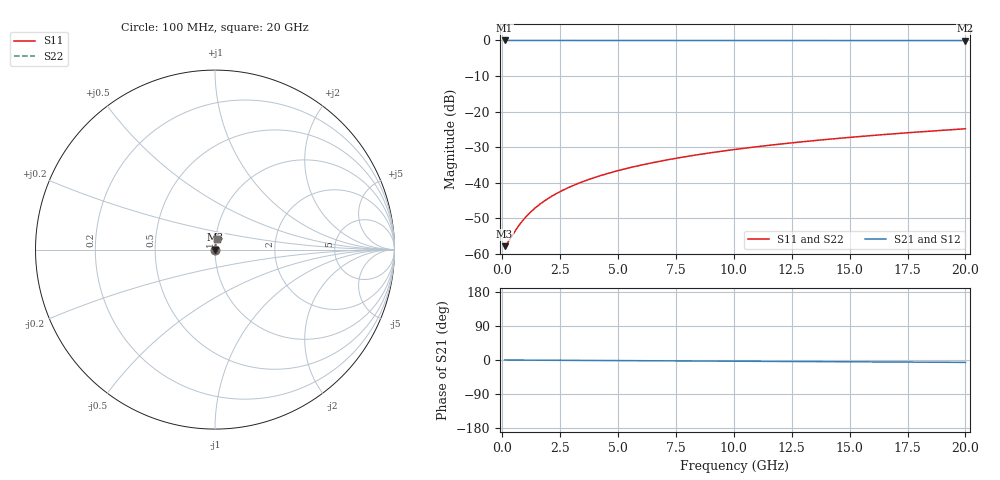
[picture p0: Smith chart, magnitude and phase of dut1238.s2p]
! Touchstone file exported from HFSS 2026.1.0
!  File:  C:/ffzhzh/LocalFiles/Ansys_Project_Files/temp_train_TSV_1238_1783193422_43440.aedt
!  Generated:  03:32:30 AM Jul  5, 2026
!  Design:  TSV
!  Project:  temp_train_TSV_1238_1783193422_43440
! Variables:
!  h_bsmrdl = 2um
!  h_ox = 20um
!  h_rdl = 5um
!  h_sub = 53.58um
!  h_tmrdl = 5um
!  h_tsv = 53.58um
!  h_via = 3um
!  l_bsmrdl = 300um
!  l_sub = 404.48um
!  l_tmrdl = 200um
!  m_sub = 200um
!  pitch = 22.77um
!  r_tsv = 2.24um
!  s_tmrdl = 10um
!  w_bsmrdl = 18um
!  w_sub = 500um
!  w_tmrdl = 12um
!  x_tsv_center1 = 206um
!  x_tsv_center2 = 524um
!  x_tsv_center3 = 736um
!  x_tsv_center4 = 1054um
!  x_tsv_center5 = 1266um
!  x_tsv_center6 = 1584um
# GHz S MA R 50.000000
! Terminal data exported
! Port[1] = TSV1_1_T1
! Port[2] = TSV1_1_T2
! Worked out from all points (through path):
!   200 points, 100 MHz to 20 GHz, reference 50 ohm
!   highest |S21| = -0.01 dB at 100 MHz (marker M1); lowest = 0.0 dB at 20 GHz (marker M2)
!   lowest |S11| = -57.8 dB at 100 MHz (marker M3), VSWR 1.00, Z = 50.1 + j0.0306 ohm
!   |S11| at or under -10 dB: start of sweep to end of sweep
!   |S22| runs from -57.8 to -24.8 dB; largest |S21 - S12| = 4.1e-15
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0.1  0.001291 13.7  0.9987 -0.0  0.9987 -0.0  0.001291 13.7
! Gamma 0 0 0 0
! Port Impedance 50 0 50 0
0.2  0.001398 25.8  0.9987 -0.1  0.9987 -0.1  0.001398 25.8
0.3  0.001559 35.8  0.9987 -0.1  0.9987 -0.1  0.001559 35.8
0.6  0.002221 54.5  0.9987 -0.2  0.9987 -0.2  0.002221 54.5
0.7  0.002473 58.3  0.9987 -0.2  0.9987 -0.2  0.002473 58.3
0.9  0.002999 64.0  0.9987 -0.3  0.9987 -0.3  0.002999 64.0
1.2  0.003821 69.5  0.9987 -0.4  0.9987 -0.4  0.003821 69.5
1.5  0.004665 73.0  0.9987 -0.5  0.9987 -0.5  0.004665 73.0
1.9  0.005808 76.0  0.9986 -0.6  0.9986 -0.6  0.005808 76.0
2.4  0.007253 78.4  0.9986 -0.8  0.9986 -0.8  0.007253 78.4
2.9  0.008708 79.9  0.9986 -0.9  0.9986 -0.9  0.008708 79.9
3.5  0.01046 81.1  0.9985 -1.1  0.9985 -1.1  0.01046 81.1
4.2  0.0125 81.9  0.9985 -1.3  0.9985 -1.3  0.0125 81.9
5  0.01484 82.5  0.9984 -1.6  0.9984 -1.6  0.01484 82.5
5.9  0.01747 82.9  0.9983 -1.9  0.9983 -1.9  0.01747 82.9
6.8  0.02008 83.1  0.9981 -2.2  0.9981 -2.2  0.02008 83.1
8.3  0.02443 83.1  0.9979 -2.6  0.9979 -2.6  0.02443 83.1
10.1  0.0296 82.9  0.9976 -3.2  0.9976 -3.2  0.0296 82.9
11.7  0.03417 82.7  0.9973 -3.7  0.9973 -3.7  0.03417 82.7
13.4  0.03899 82.3  0.9969 -4.2  0.9969 -4.2  0.03899 82.3
16.7  0.04825 81.5  0.9962 -5.3  0.9962 -5.3  0.04825 81.5
20  0.05742 80.7  0.9954 -6.3  0.9954 -6.3  0.05742 80.7
